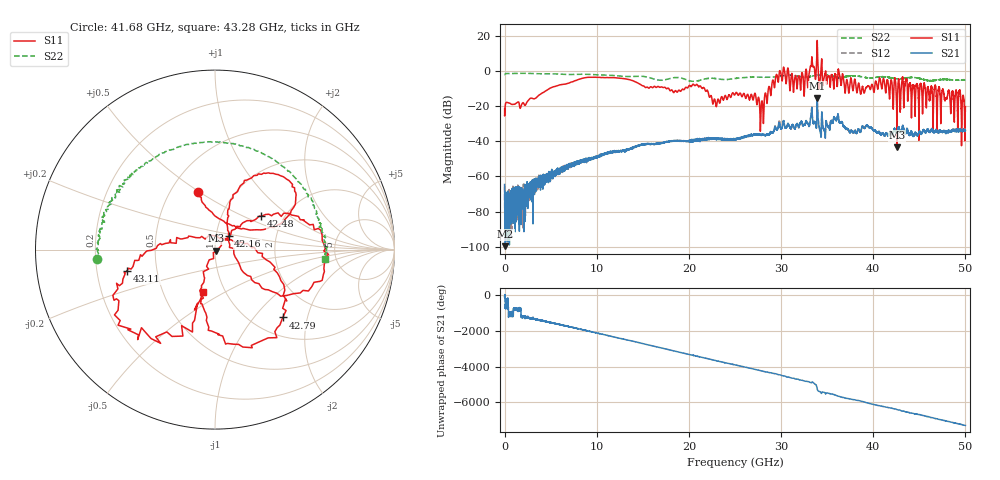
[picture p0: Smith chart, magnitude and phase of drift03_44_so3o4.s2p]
!Created with skrf (http://scikit-rf.org).
# Hz S RI R 50.0
!freq ReS11 ImS11 ReS21 ImS21 ReS12 ImS12 ReS22 ImS22
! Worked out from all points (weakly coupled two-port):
!   10001 points, 300 kHz to 50 GHz, reference 50 ohm
!   highest |S21| = -15.56 dB at 33.92 GHz (marker M1); lowest = -99.7 dB at 80.3 MHz (marker M2)
!   lowest |S11| = -43.4 dB at 42.57 GHz (marker M3), VSWR 1.01, Z = 50.4 - j0.578 ohm
!   |S11| at or under -10 dB: start of sweep to 4.85 GHz; 21.69 GHz to 28.62 GHz (6.935 GHz wide, 27.6 % of centre); 47.19 GHz to end of sweep (the widest 3 of 42)
!   |S22| runs from -5.9 to -1.3 dB; largest |S21 - S12| = 0.017
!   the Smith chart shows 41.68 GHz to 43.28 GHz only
!   S11 on the Smith chart (normalised r, x): 41.68 GHz: 0.69, +0.49; 42.16 GHz: 1.15, +0.18; 42.48 GHz: 1.54, +0.64; 42.79 GHz: 1.35, -1.43; 43.11 GHz: 0.33, -0.11; 43.28 GHz: 0.78, -0.40
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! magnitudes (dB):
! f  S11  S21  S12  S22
! 300 kHz  -21.5  -64.6  -65.7  -2.0
! 80.3 MHz  -19.2  -99.7  -75.9  -1.5
! 8.335 GHz  -4.3  -51.4  -50.9  -1.9
! 16.67 GHz  -8.8  -41.3  -41.5  -5.2
! 21.01 GHz  -8.7  -39.2  -39.3  -5.6
! 22.81 GHz  -16.1  -38.4  -38.7  -4.2
! 25 GHz  -13.4  -39.2  -38.9  -4.3
! 27.92 GHz  -17.1  -36.3  -36.5  -3.5
! 29.69 GHz  -6.4  -32.4  -31.7  -3.1
! 32.32 GHz  -1.5  -30.5  -30.6  -3.3
! 33.34 GHz  7.9  -20.6  -20.9  -2.9
! 33.92 GHz  17.4  -15.6  -15.8  -2.5
! 38.82 GHz  -9.0  -31.3  -31.8  -3.3
! 41.67 GHz  -9.0  -36.7  -36.4  -3.7
! 41.68 GHz  -9.6  -36.6  -36.6  -3.6
! 42.16 GHz  -19.4  -35.0  -34.9  -4.1
! 42.48 GHz  -9.9  -35.2  -34.6  -4.4
! 42.57 GHz  -43.4  -34.8  -34.6  -4.5
! 42.79 GHz  -5.4  -32.3  -32.3  -4.4
! 43.11 GHz  -5.9  -34.0  -33.9  -4.4
! 43.28 GHz  -12.1  -32.7  -32.7  -4.2
! 50 GHz  -20.3  -33.7  -34.3  -5.0
